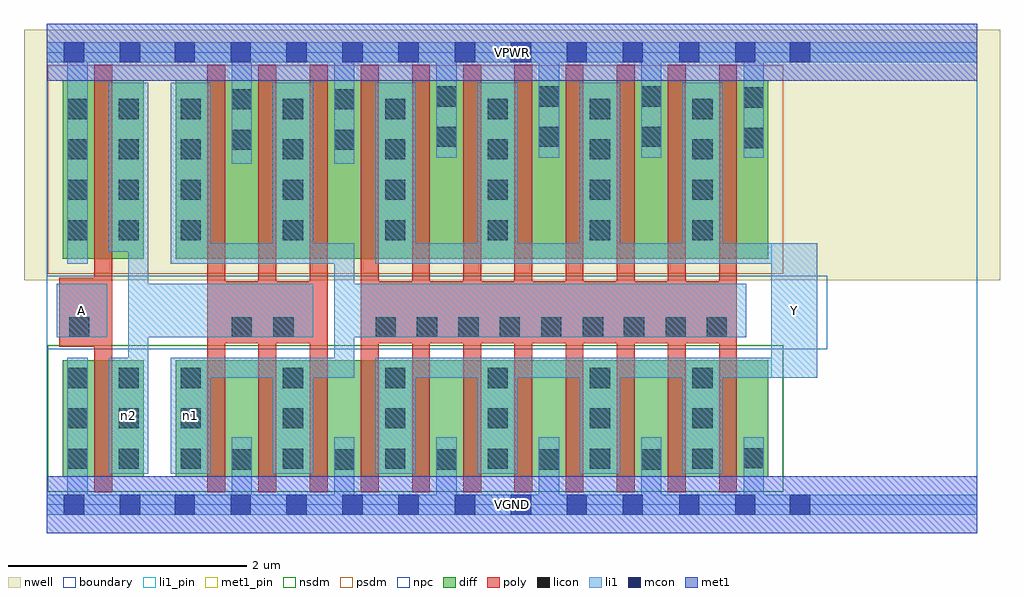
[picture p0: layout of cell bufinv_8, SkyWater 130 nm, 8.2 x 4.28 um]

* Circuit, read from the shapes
.subckt bufinv_8 A VGND VPWR Y n1 n2
XM1 n2 A VGND VSUBS sky130_fd_pr__nfet_01v8 w=0.98 l=0.15
XM2 VGND n2 n1 VSUBS sky130_fd_pr__nfet_01v8 w=0.98 l=0.15 m=3
XM3 Y n1 VGND VSUBS sky130_fd_pr__nfet_01v8 w=0.98 l=0.15 m=8
XM4 n2 A VPWR n3 sky130_fd_pr__pfet_01v8 w=1.5 l=0.15
XM5 VPWR n2 n1 n3 sky130_fd_pr__pfet_01v8 w=1.5 l=0.15 m=3
XM6 Y n1 VPWR n3 sky130_fd_pr__pfet_01v8 w=1.5 l=0.15 m=8
.ends

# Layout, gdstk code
import gdstk
lib = gdstk.Library(unit=1e-6, precision=1e-09)
def R(c, l, rs):  # rectangles x0, y0, x1, y1
    for r in rs: c.add(gdstk.rectangle(r[:2], r[2:], *l))
def A(c, l, x, y, w, h, nx, ny, dx, dy):  # array of equal rectangles
    R(c, l, [(x+i*dx, y+j*dy, x+i*dx+w, y+j*dy+h) for i in range(nx) for j in range(ny)])
nwell = (64, 20)
diff = (65, 20)
poly = (66, 20)
licon = (66, 44)
li1_pin = (67, 16)
li1 = (67, 20)
mcon = (67, 44)
met1_pin = (68, 16)
met1 = (68, 20)
nsdm = (93, 44)
psdm = (94, 20)
npc = (95, 20)
boundary = (235, 4)

bufinv_8 = lib.new_cell('bufinv_8')
R(bufinv_8, nwell, [(-0.19,1.885,8.01,3.99), (0,1.885,7.82,3.99)])
R(bufinv_8, diff, [(0.135,0.235,0.815,1.215), (1.085,0.235,6.065,1.215), (0.135,2.065,0.815,3.565), (1.085,2.065,6.065,3.565)])
A(bufinv_8, poly, 1.35, 0.105, 0.15, 3.59, 11, 1, 0.43, 0)
R(bufinv_8, poly, [(0.4,0.105,0.55,3.695), (0.105,1.325,0.55,1.905), (1.35,1.355,2.36,1.875), (2.64,1.355,5.8,1.875)])
A(bufinv_8, licon, 1.555, 0.295, 0.17, 0.17, 5, 1, 0.86, 0)
A(bufinv_8, licon, 0.175, 0.3, 0.17, 0.17, 1, 3, 0, 0.34)
A(bufinv_8, licon, 0.605, 0.3, 0.17, 0.17, 1, 3, 0, 0.34)
A(bufinv_8, licon, 1.125, 0.3, 0.17, 0.17, 6, 3, 0.86, 0.34)
A(bufinv_8, licon, 3.805, 1.405, 0.17, 0.17, 3, 1, 0.35, 0)
A(bufinv_8, licon, 0.175, 2.22, 0.17, 0.17, 1, 4, 0, 0.34)
A(bufinv_8, licon, 0.605, 2.22, 0.17, 0.17, 1, 4, 0, 0.34)
A(bufinv_8, licon, 1.125, 2.22, 0.17, 0.17, 6, 4, 0.86, 0.34)
A(bufinv_8, licon, 3.275, 3.005, 0.17, 0.17, 3, 2, 0.86, 0.34)
R(bufinv_8, licon, [(5.855,0.305,6.025,0.475), (0.19,1.405,0.36,1.575), (1.555,1.405,1.725,1.575), (1.905,1.405,2.075,1.575), (2.765,1.405,2.935,1.575), (3.11,1.405,3.28,1.575), (3.46,1.405,3.63,1.575), (4.85,1.405,5.02,1.575), (5.2,1.405,5.37,1.575), (5.545,1.405,5.715,1.575), (1.555,2.98,1.725,3.15), (2.415,2.98,2.585,3.15), (5.855,2.995,6.025,3.165), (1.555,3.32,1.725,3.49), (2.415,3.32,2.585,3.49), (5.855,3.335,6.025,3.505)])
R(bufinv_8, li1_pin, [(6.09,1.065,6.475,2.195), (0.085,1.405,0.51,1.855)])
A(bufinv_8, li1, 1.555, -0.085, 0.17, 0.65, 6, 1, 0.86, 0)
A(bufinv_8, li1, 1.9, 0.26, 0.34, 0.975, 5, 1, 0.86, 0)
A(bufinv_8, li1, 1.9, 2.025, 0.34, 1.52, 5, 1, 0.86, 0)
A(bufinv_8, li1, 3.275, 2.915, 0.17, 0.97, 4, 1, 0.86, 0)
R(bufinv_8, li1, [(0,-0.085,7.82,0.085), (0.175,-0.085,0.345,1.235), (0.52,0.26,0.855,1.235), (0.685,0.26,0.855,3.545), (1.045,0.26,1.38,1.235), (1.045,1.065,2.585,1.235), (2.415,1.065,2.585,2.195), (2.76,1.065,6.475,1.235), (6.09,1.065,6.475,2.195), (0.085,1.405,0.51,1.855), (0.685,1.405,2.24,1.855), (2.415,1.405,5.88,1.855), (0.175,2.025,0.345,3.885), (1.045,2.025,2.585,2.195), (1.045,2.025,1.38,3.545), (2.76,2.025,6.475,2.195), (0.52,2.125,0.855,3.545), (1.555,2.865,1.725,3.885), (2.415,2.865,2.585,3.885), (0,3.715,7.82,3.885)])
A(bufinv_8, mcon, 1.075, -0.085, 0.17, 0.17, 5, 2, 0.47, 3.8)
A(bufinv_8, mcon, 3.43, -0.085, 0.17, 0.17, 4, 2, 0.47, 3.8)
R(bufinv_8, mcon, [(0.145,-0.085,0.315,0.085), (0.615,-0.085,0.785,0.085), (5.315,-0.085,5.485,0.085), (5.785,-0.085,5.955,0.085), (6.245,-0.085,6.415,0.085), (0.145,3.715,0.315,3.885), (0.615,3.715,0.785,3.885), (5.315,3.715,5.485,3.885), (5.785,3.715,5.955,3.885), (6.245,3.715,6.415,3.885)])
R(bufinv_8, met1_pin, [(0,-0.24,7.82,0.24), (0,3.56,7.82,4.04)])
R(bufinv_8, met1, [(0,-0.24,7.82,0.24), (0,3.56,7.82,4.04)])
R(bufinv_8, nsdm, [(0.01,0.11,6.19,1.34)])
R(bufinv_8, psdm, [(0.01,1.94,6.19,3.69)])
R(bufinv_8, npc, [(0,1.305,6.56,1.925)])
R(bufinv_8, boundary, [(0,0,7.82,3.8)])
bufinv_8.add(gdstk.Label('A', (0.297,1.63), layer=67, texttype=5))
bufinv_8.add(gdstk.Label('Y', (6.282,1.63), layer=67, texttype=5))
bufinv_8.add(gdstk.Label('n2', (0.687,0.747), layer=67, texttype=5))
bufinv_8.add(gdstk.Label('n1', (1.212,0.747), layer=67, texttype=5))
bufinv_8.add(gdstk.Label('VPWR', (3.91,3.8), layer=68, texttype=5))
bufinv_8.add(gdstk.Label('VGND', (3.91,0), layer=68, texttype=5))
bufinv_8.add(gdstk.Label('A', (0.297,1.63), layer=67, texttype=16))
bufinv_8.add(gdstk.Label('Y', (6.282,1.63), layer=67, texttype=16))
bufinv_8.add(gdstk.Label('VPWR', (3.91,3.8), layer=68, texttype=16))
bufinv_8.add(gdstk.Label('VGND', (3.91,0), layer=68, texttype=16))

lib.write_gds('bufinv_8.gds')
